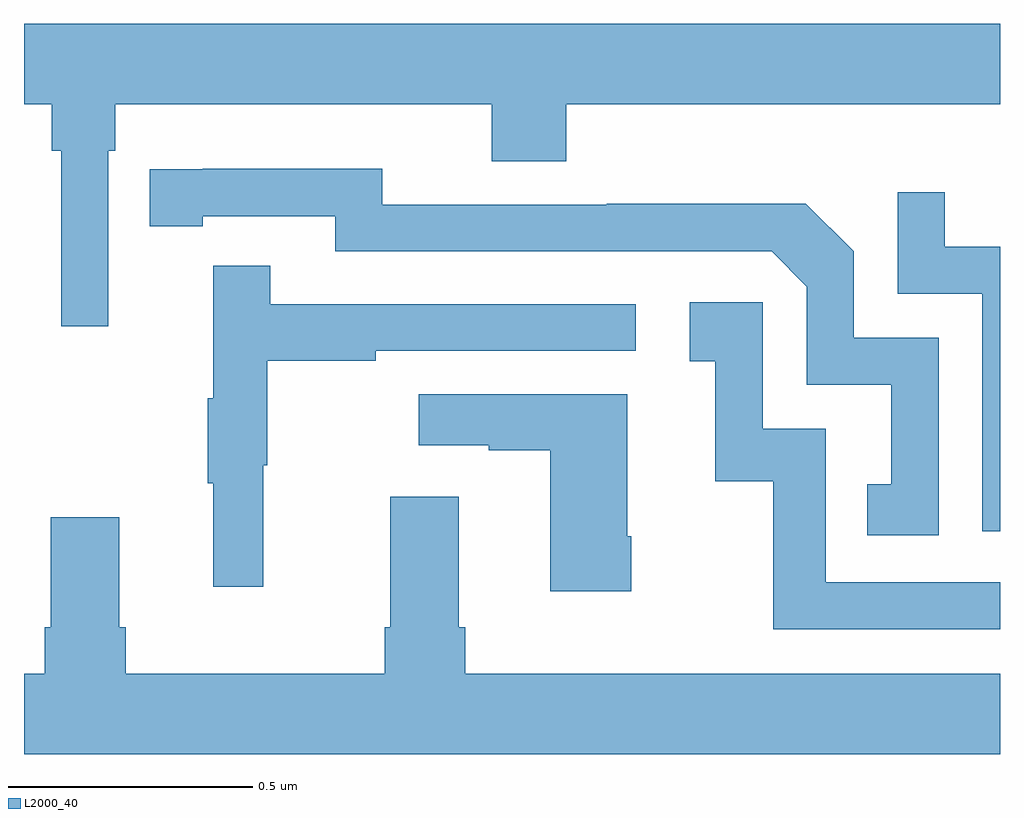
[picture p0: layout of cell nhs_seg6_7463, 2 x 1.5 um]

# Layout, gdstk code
import gdstk
lib = gdstk.Library(unit=1e-6, precision=1e-09)
def P(c, l, *ps):  # polygons
    for p in ps: c.add(gdstk.Polygon(p, *l))
L2000_40 = (2000, 40)

nhs_seg6_7463 = lib.new_cell('nhs_seg6_7463')
P(nhs_seg6_7463, L2000_40, [(208.173,991.196),(208.187,991.196),(208.187,991.292),(208.958,991.292),(208.958,991.175),(209.111,991.175),(209.111,991.292),(210,991.292),(210,991.456),(208,991.456),(208,991.292),(208.057,991.292),(208.057,991.196),(208.076,991.196),(208.076,990.837),(208.173,990.837)],
  [(209.874,990.813),(209.7,990.813),(209.7,990.99),(209.602,991.088),(209.194,991.088),(209.194,991.086),(208.734,991.086),(208.734,991.159),(208.366,991.159),(208.366,991.158),(208.258,991.158),(208.258,991.042),(208.366,991.042),(208.366,991.062),(208.638,991.062),(208.638,990.99),(209.532,990.99),(209.604,990.918),(209.604,990.717),(209.777,990.717),(209.777,990.513),(209.728,990.513),(209.728,990.408),(209.874,990.408)],
  [(210,990.999),(209.887,990.999),(209.887,991.111),(209.79,991.111),(209.79,990.903),(209.964,990.903),(209.964,990.417),(210,990.417)],
  [(208.49,990.552),(208.498,990.552),(208.498,990.766),(208.721,990.766),(208.721,990.786),(209.254,990.786),(209.254,990.882),(208.505,990.882),(208.505,990.961),(208.388,990.961),(208.388,990.689),(208.377,990.689),(208.377,990.515),(208.388,990.515),(208.388,990.303),(208.49,990.303)],
  [(210,990.312),(209.643,990.312),(209.643,990.627),(209.514,990.627),(209.514,990.886),(209.364,990.886),(209.364,990.765),(209.417,990.765),(209.417,990.519),(209.535,990.519),(209.535,990.216),(210,990.216)],
  [(209.244,990.406),(209.236,990.406),(209.236,990.697),(208.809,990.697),(208.809,990.593),(208.952,990.593),(208.952,990.583),(209.078,990.583),(209.078,990.294),(209.244,990.294)],
  [(208.195,990.22),(208.195,990.445),(208.055,990.445),(208.055,990.22),(208.043,990.22),(208.043,990.124),(208,990.124),(208,989.96),(210,989.96),(210,990.124),(208.904,990.124),(208.904,990.22),(208.891,990.22),(208.891,990.487),(208.751,990.487),(208.751,990.22),(208.739,990.22),(208.739,990.124),(208.208,990.124),(208.208,990.22)])

lib.write_gds('nhs_seg6_7463.gds')
